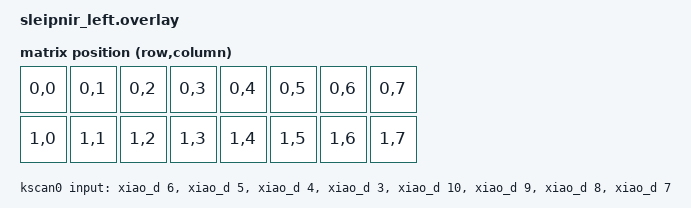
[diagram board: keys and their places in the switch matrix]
#include <dt-bindings/zmk/matrix_transform.h>

/delete-node/ &sd_partition;
/delete-node/ &code_partition;
/delete-node/ &storage_partition;

&flash0 {
    partitions {
        sd_partition: partition@0 {
            reg = <0x0 DT_SIZE_K(4)>;
        };

        code_partition: partition@1000 {
            reg = <DT_SIZE_K(4) DT_SIZE_K(844)>;
        };

        /*
         * The flash starting at 0x000d4000 and ending at
         * 0x000f3fff is reserved for use by the application.
         */

        /*
         * Storage partition will be used by FCB/LittleFS/NVS
         * if enabled.
         */
        storage_partition: partition@d4000 {
            reg = <DT_SIZE_K(848) DT_SIZE_K(128)>;
        };
    };
};

/ {
    chosen {
        zmk,kscan = &kscan0;
        zmk,matrix_transform = &default_transform;
    };

    default_transform: matrix_transform {
        compatible = "zmk,matrix-transform";
        columns = <8>;
        rows = <2>;
        map = <
            RC(0,0) RC(0,1) RC(0,2) RC(0,3) RC(0,4) RC(0,5) RC(0,6) RC(0,7)
            RC(1,0) RC(1,1) RC(1,2) RC(1,3) RC(1,4) RC(1,5) RC(1,6) RC(1,7)
        >;
    };

    kscan0: kscan {
        compatible = "zmk,kscan-gpio-direct";
        wakeup-source;
        input-gpios
            = <&xiao_d  6 (GPIO_ACTIVE_LOW | GPIO_PULL_UP)>
            , <&xiao_d  5 (GPIO_ACTIVE_LOW | GPIO_PULL_UP)>
            , <&xiao_d  4 (GPIO_ACTIVE_LOW | GPIO_PULL_UP)>
            , <&xiao_d  3 (GPIO_ACTIVE_LOW | GPIO_PULL_UP)>
            , <&xiao_d 10 (GPIO_ACTIVE_LOW | GPIO_PULL_UP)>
            , <&xiao_d  9 (GPIO_ACTIVE_LOW | GPIO_PULL_UP)>
            , <&xiao_d  8 (GPIO_ACTIVE_LOW | GPIO_PULL_UP)>
            , <&xiao_d  7 (GPIO_ACTIVE_LOW | GPIO_PULL_UP)>
            ;
    };
};
